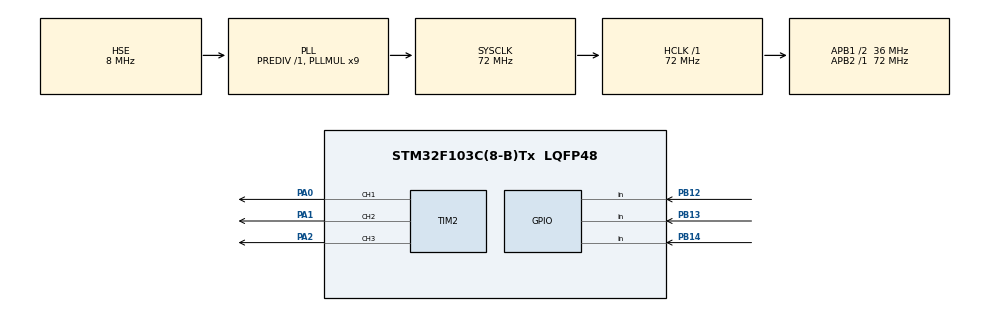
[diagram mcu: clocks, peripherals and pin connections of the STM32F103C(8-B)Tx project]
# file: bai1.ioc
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FREERTOS.Tasks01=defaultTask,24,128,StartDefaultTask,Default,NULL,Dynamic,NULL,NULL;TaskBtn,24,128,StartTaskButton,Default,NULL,Dynamic,NULL,NULL;TaskLED1,24,128,StartTaskLED,Default,0,Dynamic,NULL,NULL;TaskLED2,24,128,StartTaskLED,Default,1,Dynamic,NULL,NULL;TaskLED3,24,128,StartTaskLED,Default,2,Dynamic,NULL,NULL
FREERTOS.configTOTAL_HEAP_SIZE=4096
Mcu.Family=STM32F1
Mcu.Name=STM32F103C(8-B)Tx
Mcu.Package=LQFP48
NVIC.PriorityGroup=NVIC_PRIORITYGROUP_4
NVIC.TIM1_UP_IRQn=true\:15\:0\:false\:false\:true\:false\:false\:true\:true
NVIC.TimeBase=TIM1_UP_IRQn
NVIC.TimeBaseIP=TIM1
PA0-WKUP.Signal=S_TIM2_CH1_ETR
PA1.Signal=S_TIM2_CH2
PA2.Signal=S_TIM2_CH3
PB12.GPIO_PuPd=GPIO_PULLUP
PB12.Signal=GPIO_Input
PB13.GPIO_PuPd=GPIO_PULLUP
PB13.Signal=GPIO_Input
PB14.GPIO_PuPd=GPIO_PULLUP
PB14.Signal=GPIO_Input
PD0-OSC_IN.Mode=HSE-External-Oscillator
PD0-OSC_IN.Signal=RCC_OSC_IN
PD1-OSC_OUT.Mode=HSE-External-Oscillator
PD1-OSC_OUT.Signal=RCC_OSC_OUT
ProjectManager.HeapSize=0x200
ProjectManager.StackSize=0x400
ProjectManager.TargetToolchain=MDK-ARM V5.32
RCC.AHBFreq_Value=72000000
RCC.APB1CLKDivider=RCC_HCLK_DIV2
RCC.APB1Freq_Value=36000000
RCC.APB1TimFreq_Value=72000000
RCC.APB2Freq_Value=72000000
RCC.APB2TimFreq_Value=72000000
RCC.HCLKFreq_Value=72000000
RCC.PLLMUL=RCC_PLL_MUL9
RCC.PLLSourceVirtual=RCC_PLLSOURCE_HSE
RCC.SYSCLKFreq_VALUE=72000000
RCC.SYSCLKSource=RCC_SYSCLKSOURCE_PLLCLK
RCC.USBFreq_Value=72000000
SH.S_TIM2_CH1_ETR.0=TIM2_CH1,PWM Generation1 CH1
SH.S_TIM2_CH2.0=TIM2_CH2,PWM Generation2 CH2
SH.S_TIM2_CH3.0=TIM2_CH3,PWM Generation3 CH3
TIM2.Channel-PWM\ Generation1\ CH1=TIM_CHANNEL_1
TIM2.Channel-PWM\ Generation2\ CH2=TIM_CHANNEL_2
TIM2.Channel-PWM\ Generation3\ CH3=TIM_CHANNEL_3
VP_FREERTOS_VS_CMSIS_V2.Mode=CMSIS_V2
VP_SYS_VS_ND.Mode=No_Debug
VP_SYS_VS_tim1.Mode=TIM1
board=custom

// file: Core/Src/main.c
/* USER CODE BEGIN Header */
/**
  ******************************************************************************
  * @file           : main.c
  * @brief          : Main program body
  ******************************************************************************
  * @attention
  *
  * Copyright (c) 2026 STMicroelectronics.
  * All rights reserved.
  *
  * This software is licensed under terms that can be found in the LICENSE file
  * in the root directory of this software component.
  * If no LICENSE file comes with this software, it is provided AS-IS.
  *
  ******************************************************************************
  */
/* USER CODE END Header */
#include "main.h"
#include "cmsis_os.h"

/* USER CODE BEGIN PTD */
// Ð?nh nghia c?u trúc d? li?u g?i qua Queue
typedef struct {
  uint8_t  led_index;   // 0: LED1, 1: LED2, 2: LED3
  uint16_t duty_cycle;  // D?i giá tr? t? 0 d?n 1000
} LedMessage_t;
/* USER CODE END PTD */

/* USER CODE BEGIN PD */
#define PWM_MAX               1000  // Tuong ?ng ARR = 999
#define PWM_STEP              100   // Tang/Gi?m 10% m?i l?n nh?n

// Ð?nh nghia nút nh?n tuong ?ng v?i c?u hình GPIO c?a b?n (GPIOB: PB12, PB13, PB14)
#define BTN_MODE_PIN          GPIO_PIN_12
#define BTN_MODE_PORT         GPIOB

#define BTN_UP_PIN            GPIO_PIN_13
#define BTN_UP_PORT           GPIOB

#define BTN_DOWN_PIN          GPIO_PIN_14
#define BTN_DOWN_PORT         GPIOB
/* USER CODE END PD */

TIM_HandleTypeDef htim2;

/* Definitions for defaultTask */
osThreadId_t defaultTaskHandle;
const osThreadAttr_t defaultTask_attributes = {
  .name = "defaultTask",
  .stack_size = 128 * 4,
  .priority = (osPriority_t) osPriorityNormal,
};
/* Definitions for TaskBtn */
osThreadId_t TaskBtnHandle;
const osThreadAttr_t TaskBtn_attributes = {
  .name = "TaskBtn",
  .stack_size = 128 * 4,
  .priority = (osPriority_t) osPriorityNormal,
};
/* Definitions for TaskLED1 */
osThreadId_t TaskLED1Handle;
const osThreadAttr_t TaskLED1_attributes = {
  .name = "TaskLED1",
  .stack_size = 128 * 4,
  .priority = (osPriority_t) osPriorityNormal,
};
/* Definitions for TaskLED2 */
osThreadId_t TaskLED2Handle;
const osThreadAttr_t TaskLED2_attributes = {
  .name = "TaskLED2",
  .stack_size = 128 * 4,
  .priority = (osPriority_t) osPriorityNormal,
};
/* Definitions for TaskLED3 */
osThreadId_t TaskLED3Handle;
const osThreadAttr_t TaskLED3_attributes = {
  .name = "TaskLED3",
  .stack_size = 128 * 4,
  .priority = (osPriority_t) osPriorityNormal,
};
/* USER CODE BEGIN PV */
// Queue Handle
osMessageQueueId_t LedQueueHandle;
/* USER CODE END PV */

void SystemClock_Config(void);
static void MX_GPIO_Init(void);
static void MX_TIM2_Init(void);
void StartDefaultTask(void *argument);
void StartTaskButton(void *argument);
void StartTaskLED(void *argument);

/* Private user code --------------------------------------------------------- */

int main(void)
{

  /* MCU Configuration--------------------------------------------------------*/

  /* Reset of all peripherals, Initializes the Flash interface and the Systick. */
  HAL_Init();

  /* Configure the system clock */
  SystemClock_Config();

  /* Initialize all configured peripherals */
  MX_GPIO_Init();
  MX_TIM2_Init();
  /* USER CODE BEGIN 2 */
  // Kh?i d?ng 3 kênh PWM c?a TIM2 (PA0, PA1, PA2)
  HAL_TIM_PWM_Start(&htim2, TIM_CHANNEL_1);
  HAL_TIM_PWM_Start(&htim2, TIM_CHANNEL_2);
  HAL_TIM_PWM_Start(&htim2, TIM_CHANNEL_3);
  /* USER CODE END 2 */

  /* Init scheduler */
  osKernelInitialize();

  /* USER CODE BEGIN RTOS_QUEUES */
  // Kh?i t?o Queue ch?a t?i da 10 ph?n t? ki?u LedMessage_t
  LedQueueHandle = osMessageQueueNew(10, sizeof(LedMessage_t), NULL);
  /* USER CODE END RTOS_QUEUES */

  /* Create the thread(s) */
  /* creation of defaultTask */
  defaultTaskHandle = osThreadNew(StartDefaultTask, NULL, &defaultTask_attributes);

  /* creation of TaskBtn */
  TaskBtnHandle = osThreadNew(StartTaskButton, NULL, &TaskBtn_attributes);

  /* creation of TaskLED1 */
  TaskLED1Handle = osThreadNew(StartTaskLED, (void*) 0, &TaskLED1_attributes);

  /* creation of TaskLED2 */
  TaskLED2Handle = osThreadNew(StartTaskLED, (void*) 1, &TaskLED2_attributes);

  /* creation of TaskLED3 */
  TaskLED3Handle = osThreadNew(StartTaskLED, (void*) 2, &TaskLED3_attributes);

  /* Start scheduler */
  osKernelStart();

  /* We should never get here as control is now taken by the scheduler */

  /* Infinite loop */
  while (1)
  {

  }
}

void SystemClock_Config(void)
{
  RCC_OscInitTypeDef RCC_OscInitStruct = {0};
  RCC_ClkInitTypeDef RCC_ClkInitStruct = {0};

  /** Initializes the RCC Oscillators according to the specified parameters
  * in the RCC_OscInitTypeDef structure.
  */
  RCC_OscInitStruct.OscillatorType = RCC_OSCILLATORTYPE_HSE;
  RCC_OscInitStruct.HSEState = RCC_HSE_ON;
  RCC_OscInitStruct.HSEPredivValue = RCC_HSE_PREDIV_DIV1;
  RCC_OscInitStruct.HSIState = RCC_HSI_ON;
  RCC_OscInitStruct.PLL.PLLState = RCC_PLL_ON;
  RCC_OscInitStruct.PLL.PLLSource = RCC_PLLSOURCE_HSE;
  RCC_OscInitStruct.PLL.PLLMUL = RCC_PLL_MUL9;
  if (HAL_RCC_OscConfig(&RCC_OscInitStruct) != HAL_OK)
  {
    Error_Handler();
  }

  /** Initializes the CPU, AHB and APB buses clocks
  */
  RCC_ClkInitStruct.ClockType = RCC_CLOCKTYPE_HCLK|RCC_CLOCKTYPE_SYSCLK
                              |RCC_CLOCKTYPE_PCLK1|RCC_CLOCKTYPE_PCLK2;
  RCC_ClkInitStruct.SYSCLKSource = RCC_SYSCLKSOURCE_PLLCLK;
  RCC_ClkInitStruct.AHBCLKDivider = RCC_SYSCLK_DIV1;
  RCC_ClkInitStruct.APB1CLKDivider = RCC_HCLK_DIV2;
  RCC_ClkInitStruct.APB2CLKDivider = RCC_HCLK_DIV1;

  if (HAL_RCC_ClockConfig(&RCC_ClkInitStruct, FLASH_LATENCY_2) != HAL_OK)
  {
    Error_Handler();
  }
}

static void MX_TIM2_Init(void)
{

  TIM_MasterConfigTypeDef sMasterConfig = {0};
  TIM_OC_InitTypeDef sConfigOC = {0};

  htim2.Instance = TIM2;
  // C?u hình t?n s? PWM = 1 kHz (SYSCLK 72MHz -> APB1 Timer Clock = 72MHz)
  htim2.Init.Prescaler = 71;                // 72MHz / (71 + 1) = 1MHz
  htim2.Init.CounterMode = TIM_COUNTERMODE_UP;
  htim2.Init.Period = 999;                  // 1MHz / (999 + 1) = 1kHz PWM
  htim2.Init.ClockDivision = TIM_CLOCKDIVISION_DIV1;
  htim2.Init.AutoReloadPreload = TIM_AUTORELOAD_PRELOAD_ENABLE;
  if (HAL_TIM_PWM_Init(&htim2) != HAL_OK)
  {
    Error_Handler();
  }
  sMasterConfig.MasterOutputTrigger = TIM_TRGO_RESET;
  sMasterConfig.MasterSlaveMode = TIM_MASTERSLAVEMODE_DISABLE;
  if (HAL_TIMEx_MasterConfigSynchronization(&htim2, &sMasterConfig) != HAL_OK)
  {
    Error_Handler();
  }
  sConfigOC.OCMode = TIM_OCMODE_PWM1;
  sConfigOC.Pulse = 0;
  sConfigOC.OCPolarity = TIM_OCPOLARITY_HIGH;
  sConfigOC.OCFastMode = TIM_OCFAST_DISABLE;
  if (HAL_TIM_PWM_ConfigChannel(&htim2, &sConfigOC, TIM_CHANNEL_1) != HAL_OK)
  {
    Error_Handler();
  }
  if (HAL_TIM_PWM_ConfigChannel(&htim2, &sConfigOC, TIM_CHANNEL_2) != HAL_OK)
  {
    Error_Handler();
  }
  if (HAL_TIM_PWM_ConfigChannel(&htim2, &sConfigOC, TIM_CHANNEL_3) != HAL_OK)
  {
    Error_Handler();
  }
  HAL_TIM_MspPostInit(&htim2);

}

static void MX_GPIO_Init(void)
{
  GPIO_InitTypeDef GPIO_InitStruct = {0};

  /* GPIO Ports Clock Enable */
  __HAL_RCC_GPIOD_CLK_ENABLE();
  __HAL_RCC_GPIOA_CLK_ENABLE();
  __HAL_RCC_GPIOB_CLK_ENABLE();

  /*Configure GPIO pins : PB12 PB13 PB14 */
  GPIO_InitStruct.Pin = GPIO_PIN_12|GPIO_PIN_13|GPIO_PIN_14;
  GPIO_InitStruct.Mode = GPIO_MODE_INPUT;
  GPIO_InitStruct.Pull = GPIO_PULLUP;
  HAL_GPIO_Init(GPIOB, &GPIO_InitStruct);

}

void StartDefaultTask(void *argument)
{
  /* USER CODE BEGIN 5 */
  /* Infinite loop */
  for(;;)
  {
    osDelay(100);
  }
  /* USER CODE END 5 */
}

void StartTaskButton(void *argument)
{
  /* USER CODE BEGIN StartTaskButton */
  uint8_t selected_led = 0;           // M?c d?nh ch?n LED 1 (index = 0)
  uint16_t led_duty[3] = {0, 0, 0};   // Luu d? sáng hi?n t?i c?a 3 LED

  /* Infinite loop */
  for(;;)
  {
    // 1. Nút PB12: Chuy?n LED (Mode)
    if (HAL_GPIO_ReadPin(BTN_MODE_PORT, BTN_MODE_PIN) == GPIO_PIN_RESET)
    {
      osDelay(20); // Ch?ng n?y phím
      if (HAL_GPIO_ReadPin(BTN_MODE_PORT, BTN_MODE_PIN) == GPIO_PIN_RESET)
      {
        selected_led = (selected_led + 1) % 3; // Chuy?n ch?n: 0 -> 1 -> 2 -> 0
        while (HAL_GPIO_ReadPin(BTN_MODE_PORT, BTN_MODE_PIN) == GPIO_PIN_RESET)
        {
          osDelay(10); // Ch? nh? nút
        }
      }
    }

    // 2. Nút PB13: Tang d? sáng (Up)
    if (HAL_GPIO_ReadPin(BTN_UP_PORT, BTN_UP_PIN) == GPIO_PIN_RESET)
    {
      osDelay(20);
      if (HAL_GPIO_ReadPin(BTN_UP_PORT, BTN_UP_PIN) == GPIO_PIN_RESET)
      {
        if (led_duty[selected_led] + PWM_STEP <= PWM_MAX) {
          led_duty[selected_led] += PWM_STEP;
        } else {
          led_duty[selected_led] = PWM_MAX;
        }

        // Ðóng gói d? li?u g?i qua Queue
        LedMessage_t msg = {
          .led_index = selected_led,
          .duty_cycle = led_duty[selected_led]
        };
        osMessageQueuePut(LedQueueHandle, &msg, 0, 0);

        while (HAL_GPIO_ReadPin(BTN_UP_PORT, BTN_UP_PIN) == GPIO_PIN_RESET)
        {
          osDelay(10);
        }
      }
    }

    // 3. Nút PB14: Gi?m d? sáng (Down)
    if (HAL_GPIO_ReadPin(BTN_DOWN_PORT, BTN_DOWN_PIN) == GPIO_PIN_RESET)
    {
      osDelay(20);
      if (HAL_GPIO_ReadPin(BTN_DOWN_PORT, BTN_DOWN_PIN) == GPIO_PIN_RESET)
      {
        if (led_duty[selected_led] >= PWM_STEP) {
          led_duty[selected_led] -= PWM_STEP;
        } else {
          led_duty[selected_led] = 0;
        }

        // Ðóng gói d? li?u g?i qua Queue
        LedMessage_t msg = {
          .led_index = selected_led,
          .duty_cycle = led_duty[selected_led]
        };
        osMessageQueuePut(LedQueueHandle, &msg, 0, 0);

        while (HAL_GPIO_ReadPin(BTN_DOWN_PORT, BTN_DOWN_PIN) == GPIO_PIN_RESET)
        {
          osDelay(10);
        }
      }
    }

    osDelay(20); // Chu k? quét nút nh?n 20ms
  }
  /* USER CODE END StartTaskButton */
}

/* USER CODE BEGIN Header_StartTaskLED */
/**
* @brief Function implementing the TaskLED1, TaskLED2, TaskLED3 threads.
* @param argument: ID d?i di?n cho t?ng LED (0, 1, ho?c 2)
* @retval None
*/
/* USER CODE END Header_StartTaskLED */
void StartTaskLED(void *argument)
{
  /* USER CODE BEGIN StartTaskLED */
  uint8_t my_led_id = (uint8_t)(uintptr_t)argument;
  LedMessage_t rx_msg;

  /* Infinite loop */
  for(;;)
  {
    // Ð?i nh?n thông di?p t? Queue (Wait Forever)
    if (osMessageQueueGet(LedQueueHandle, &rx_msg, NULL, osWaitForever) == osOK)
    {
      if (rx_msg.led_index == my_led_id)
      {
        // Ðúng ID c?a Task này -> C?p nh?t Duty Cycle cho Chanel tuong ?ng
        switch (my_led_id)
        {
          case 0:
            __HAL_TIM_SET_COMPARE(&htim2, TIM_CHANNEL_1, rx_msg.duty_cycle);
            break;
          case 1:
            __HAL_TIM_SET_COMPARE(&htim2, TIM_CHANNEL_2, rx_msg.duty_cycle);
            break;
          case 2:
            __HAL_TIM_SET_COMPARE(&htim2, TIM_CHANNEL_3, rx_msg.duty_cycle);
            break;
          default:
            break;
        }
      }
      else
      {
        // Không dúng ID -> Ð?y tr? thông di?p l?i Queue cho Task khác x? lý
        osMessageQueuePut(LedQueueHandle, &rx_msg, 0, 0);
        osDelay(2); // Delay ng?n tránh vòng l?p tranh ch?p Queue
      }
    }
  }
  /* USER CODE END StartTaskLED */
}

void HAL_TIM_PeriodElapsedCallback(TIM_HandleTypeDef *htim)
{
  if (htim->Instance == TIM1)
  {
    HAL_IncTick();
  }
}

void Error_Handler(void)
{
  __disable_irq();
  while (1)
  {
  }
}
